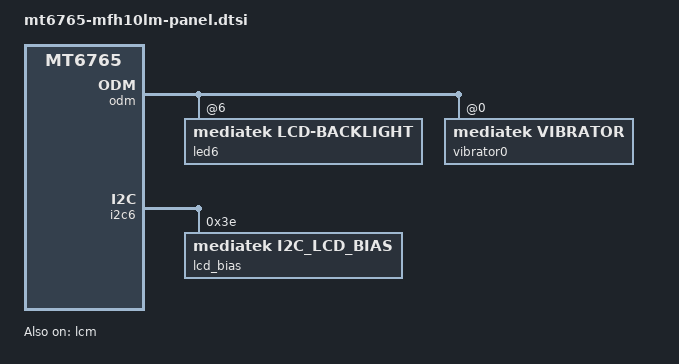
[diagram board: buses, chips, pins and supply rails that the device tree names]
/*
 * LG Electronics MT6765 HDK panel device tree source
 *
 * Copyright (c) 2018 LG Electronics Co., Ltd.
 *              http://www.lge.com
 *
 */

&odm {
	led0:led@0 {
		status = "disabled";
	};
	led1:led@1 {
		status = "disabled";
	};
	led2:led@2 {
		status = "disabled";
	};
	led3:led@3 {
		status = "disabled";
	};
	led4:led@4 {
		status = "disabled";
	};
	led5:led@5 {
		status = "disabled";
	};
	led6:led@6 {
		compatible = "mediatek,lcd-backlight";
		led_mode = <5>;
		data = <1>;
		pwm_config = <0 14 0 0 0>;
		lge.blmap-size = <256>;

		lge.blmap = <
			0	7	7	7	7	7	7	7	7	7		/* 0 ~ 9 */
			7	7	8	8	9	9	10	11	11	12		/* 10 ~ 19 */
			12	13	13	14	15	15	16	16	17	17		/* 20 ~ 29 */
			18	19	19	20	20	21	21	22	23	23		/* 30 ~ 39 */
			24	24	25	25	26	27	27	28	28	29		/* 40 ~ 49 */
			29	30	31	31	32	32	33	33	34	35		/* 50 ~ 59 */
			36	38	40	42	44	46	48	50	52	54		/* 60 ~ 69 */
			56	58	60	62	64	66	67	69	71	73		/* 70 ~ 79 */
			75	77	79	81	83	85	87	89	91	93		/* 80 ~ 89 */
			95	97	99	100	102	104	106	108	110	112		/* 90 ~ 99 */
			114	116	118	120	122	124	126	128	130	132		/* 100 ~ 109 */
			136	140	144	148	152	156	160	164	168	172		/* 110 ~ 119 */
			176	180	184	188	192	196	200	204	208	212		/* 120 ~ 129 */
			216	221	225	229	233	237	241	245	249	253		/* 130 ~ 139 */
			257	261	265	269	273	277	281	285	289	293		/* 140 ~ 149 */
			297	301	306	310	314	318	322	326	313	318		/* 150 ~ 159 */
			324	330	336	342	348	354	360	366	372	377		/* 160 ~ 169 */
			383	389	395	401	407	413	419	425	431	436		/* 170 ~ 179 */
			442	448	454	460	466	472	478	484	490	495		/* 180 ~ 189 */
			501	507	513	519	525	531	537	543	549	554		/* 190 ~ 199 */
			560	566	572	578	584	590	596	602	608	616		/* 200 ~ 209 */
			625	634	642	651	660	668	677	686	695	703		/* 210 ~ 219 */
			712	721	729	738	747	755	764	773	782	790		/* 220 ~ 229 */
			799	808	816	825	834	842	851	860	869	877		/* 230 ~ 239 */
			886	895	903	912	921	929	938	947	956	964		/* 240 ~ 249 */
			973	982	990	999	1008	1017						/* 250 ~ 255 */
		>;

		lge.pwm_default_brightness = <501>;
	};
	vibrator0:vibrator@0 {
		compatible = "mediatek,vibrator";
		vib_timer = <25>;
		vib_limit = <9>;
		vib_vol= <11>;
	};
};

&i2c6 {
	lcd_bias@3e {
		compatible = "mediatek,I2C_LCD_BIAS";
		reg = <0x3e>;
		status = "okay";
	};
};

/*LCM start*/
&lcm {
	compatible = "mediatek,lcm_gpio";
	pinctrl-names = "state_enp_output0","state_enp_output1", "state_enn_output0",
		"state_enn_output1","state_reset_output0", "state_reset_output1";
	pinctrl-0 = <&lcm_pins_enp_output0>;
	pinctrl-1 = <&lcm_pins_enp_output1>;
	pinctrl-2 = <&lcm_pins_enn_output0>;
	pinctrl-3 = <&lcm_pins_enn_output1>;
	pinctrl-4 = <&lcm_pins_rst_output0>;
	pinctrl-5 = <&lcm_pins_rst_output1>;
	status = "okay";
};

&pio {
	lcm_pins_enp_output0: enpoutput0 {
		pins_cmd_dat {
			pinmux = <PINMUX_GPIO16__FUNC_GPIO16>;
			slew-rate = <1>;
			output-low;
		};
	};
	lcm_pins_enp_output1: enpoutput1 {
		pins_cmd_dat {
			pinmux = <PINMUX_GPIO16__FUNC_GPIO16>;
			slew-rate = <1>;
			output-high;
		};
	};
	lcm_pins_enn_output0: ennoutput0 {
		pins_cmd_dat {
			pinmux = <PINMUX_GPIO14__FUNC_GPIO14>;
			slew-rate = <1>;
			output-low;
		};
	};
	lcm_pins_enn_output1: ennoutput1 {
		pins_cmd_dat {
			pinmux = <PINMUX_GPIO14__FUNC_GPIO14>;
			slew-rate = <1>;
			output-high;
		};
	};
	lcm_pins_rst_output0: resetoutput0 {
		pins_cmd_dat {
			pinmux = <PINMUX_GPIO45__FUNC_GPIO45>;
			slew-rate = <1>;
			output-low;
		};
	};
	lcm_pins_rst_output1: resetoutput1 {
		pins_cmd_dat {
			pinmux = <PINMUX_GPIO45__FUNC_GPIO45>;
			slew-rate = <1>;
			output-high;
		};
	};
};

&mt6370_pmu {
	bled {
		/* mt,ext_en_pin; */
		mt,chan_en  = <0xf>; /* bit 0 1 2 3 -> chan 1 2 3 4 */
		mt,map_linear;
		mt,bl_ovp_level = <3>;	/* 0: 17v */
					/* 1: 21v */
					/* 2: 25v */
					/* 3: 29v */
		mt,bl_ocp_level = <2>;	/* 0: 900mA */
					/* 1: 1200mA */
					/* 2: 1500mA */
					/* 3: 1800mA */
		mt,use_pwm;
		mt,pwm_fsample = <2>;	/* 0: 1MHz */
					/* 1: 4MHz */
					/* 2: or 3: 24mHz */
		mt,pwm_deglitch = <1>;	/* 0: no filter */
					/* 1: 100ns */
					/* 2: 160ns */
					/* 3: 200ns */
		mt,pwm_avg_cycle = <0>; /* 0: disable avg */
					/* 1: avg 2 cycle */
					/* 2: avg 4 cycle */
					/* 3: avg 8 cycle */
					/* 4: avg 16 cycle */
					/* 5: avg 32 cycle */
		mt,bled_ramptime = <3>; /* 0, 500us, 750us, 1ms, 2ms */
					/* 5ms, 10ms, 20ms, 50ms */
					/* 100ms, 250ms, 800ms */
					/* 1s, 2s, 4s, 8s */
		mt,bled_flash_ramp = <1>;	/* 0, 500us, 750us */
						/* 1ms, 2ms, 5ms */

		/* we have 11 bit resolution, quantize in driver */
		mt,max_bled_brightness = <730>; /* maximum 2047 */
	};
};
